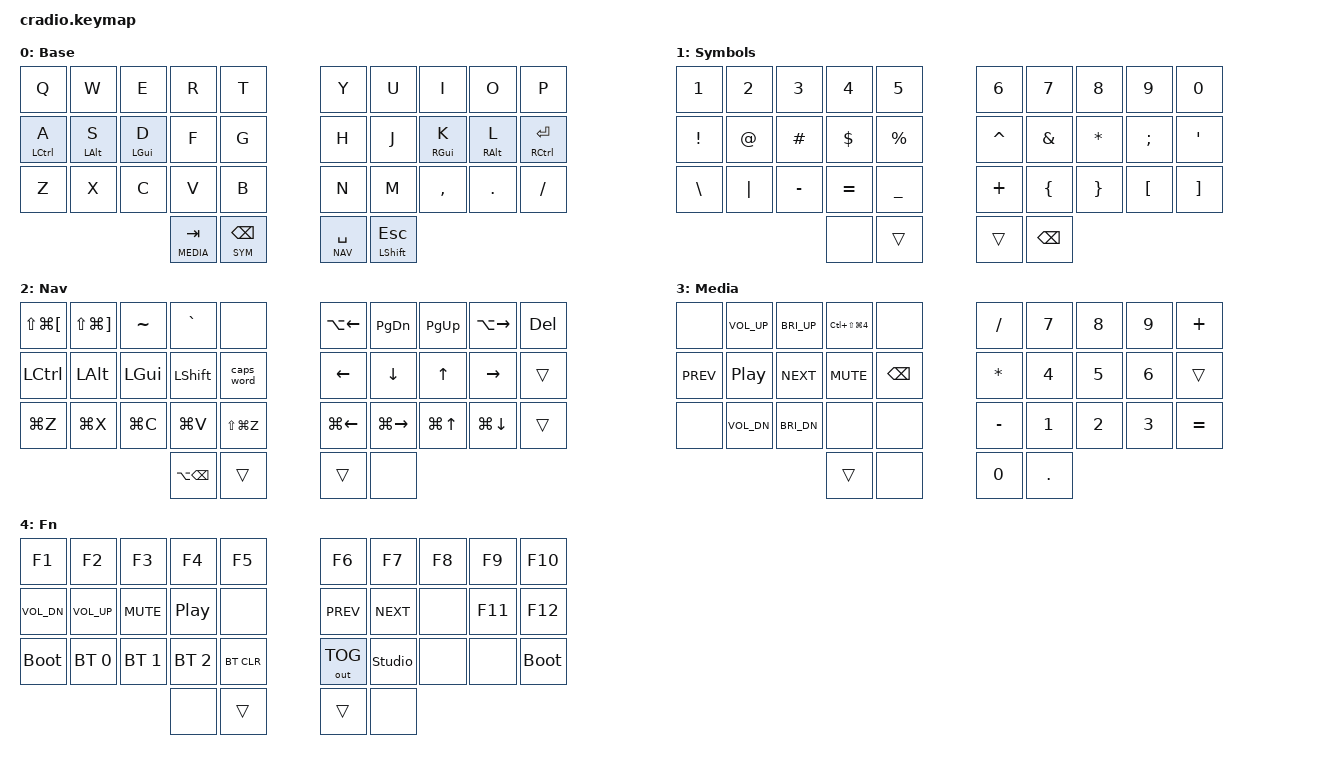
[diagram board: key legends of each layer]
// Ferris Sweep keymap, ported from the BM43 layout in ~/qmk_userspace. Mac only.
// Key positions: left hand 0-4, 10-14, 20-24; right hand 5-9, 15-19, 25-29; thumbs 30-33.

#include <behaviors.dtsi>
#include <dt-bindings/zmk/keys.h>
#include <dt-bindings/zmk/bt.h>
#include <dt-bindings/zmk/outputs.h>

#define BASE  0
#define SYM   1
#define NAV   2
#define MEDIA 3
#define FN    4

#define LEFT_HAND  0 1 2 3 4 10 11 12 13 14 20 21 22 23 24
#define RIGHT_HAND 5 6 7 8 9 15 16 17 18 19 25 26 27 28 29
#define THUMBS     30 31 32 33

/ {
    behaviors {
        // Home row mods. A mod only counts when the next key is on the other hand or a thumb,
        // and never right after a letter, so fast typing stays letters.
        hml: home_row_mod_left {
            compatible = "zmk,behavior-hold-tap";
            #binding-cells = <2>;
            flavor = "balanced";
            tapping-term-ms = <280>;
            require-prior-idle-ms = <150>;
            quick-tap-ms = <175>;
            hold-trigger-key-positions = <RIGHT_HAND THUMBS>;
            hold-trigger-on-release;
            bindings = <&kp>, <&kp>;
        };
        hmr: home_row_mod_right {
            compatible = "zmk,behavior-hold-tap";
            #binding-cells = <2>;
            flavor = "balanced";
            tapping-term-ms = <280>;
            require-prior-idle-ms = <150>;
            quick-tap-ms = <175>;
            hold-trigger-key-positions = <LEFT_HAND THUMBS>;
            hold-trigger-on-release;
            bindings = <&kp>, <&kp>;
        };

        // Backspace/Symbols. Nothing rolls off this key in normal typing, so any key pressed
        // while it's down is a symbol, even if the thumb lifts first.
        bs_sym: backspace_symbols {
            compatible = "zmk,behavior-hold-tap";
            #binding-cells = <2>;
            flavor = "hold-preferred";
            tapping-term-ms = <200>;
            quick-tap-ms = <125>;
            bindings = <&mo>, <&kp>;
        };
        // Space/Nav. Only a full hold opens Nav. Letters pressed sooner stay letters, because a
        // letter landing inside a Space press is normal fast typing.
        sp_nav: space_nav {
            compatible = "zmk,behavior-hold-tap";
            #binding-cells = <2>;
            flavor = "tap-preferred";
            tapping-term-ms = <200>;
            require-prior-idle-ms = <100>;
            quick-tap-ms = <150>;
            bindings = <&mo>, <&kp>;
        };
        tab_med: tab_media {
            compatible = "zmk,behavior-hold-tap";
            #binding-cells = <2>;
            flavor = "balanced";
            tapping-term-ms = <200>;
            quick-tap-ms = <150>;
            bindings = <&mo>, <&kp>;
        };
        esc_sft: esc_shift {
            compatible = "zmk,behavior-hold-tap";
            #binding-cells = <2>;
            flavor = "hold-preferred";
            tapping-term-ms = <200>;
            bindings = <&kp>, <&kp>;
        };
    };

    // Base layer only, on pairs with no sideways stretch.
    combos {
        compatible = "zmk,combos";

        combo_lpar {
            timeout-ms = <40>;
            require-prior-idle-ms = <50>;
            key-positions = <12 13>;     // D F
            layers = <BASE>;
            bindings = <&kp LPAR>;
        };
        combo_rpar {
            timeout-ms = <40>;
            require-prior-idle-ms = <50>;
            key-positions = <16 17>;     // J K
            layers = <BASE>;
            bindings = <&kp RPAR>;
        };
        combo_dquote {
            timeout-ms = <40>;
            require-prior-idle-ms = <50>;
            key-positions = <13 16>;     // F J
            layers = <BASE>;
            bindings = <&kp DQT>;
        };
        combo_underscore {
            timeout-ms = <40>;
            require-prior-idle-ms = <50>;
            key-positions = <12 17>;     // D K
            layers = <BASE>;
            bindings = <&kp UNDER>;
        };
        combo_colon {
            timeout-ms = <40>;
            require-prior-idle-ms = <50>;
            key-positions = <17 18>;     // K L
            layers = <BASE>;
            bindings = <&kp COLON>;
        };
        // Bottom-row pairs that almost never come up in typing, on keys with no hold function.
        // A combo stays pressed while both keys are down, so this Backspace repeats when held.
        combo_backspace {
            timeout-ms = <40>;
            require-prior-idle-ms = <50>;
            key-positions = <27 28>;     // , .
            layers = <BASE>;
            bindings = <&kp BSPC>;
        };
        combo_minus {
            timeout-ms = <40>;
            require-prior-idle-ms = <50>;
            key-positions = <22 23>;     // C V
            layers = <BASE>;
            bindings = <&kp MINUS>;
        };
        combo_apostrophe {
            timeout-ms = <40>;
            require-prior-idle-ms = <50>;
            key-positions = <22 27>;     // C ,
            layers = <BASE>;
            bindings = <&kp SQT>;
        };
    };

    // Both inner thumbs, in either order, give Fn.
    conditional_layers {
        compatible = "zmk,conditional-layers";
        fn_layer {
            if-layers = <SYM NAV>;
            then-layer = <FN>;
        };
    };

    keymap {
        compatible = "zmk,keymap";

        base_layer {
            display-name = "Base";
            bindings = <
            &kp Q         &kp W         &kp E         &kp R      &kp T          &kp Y      &kp U      &kp I         &kp O         &kp P
            &hml LCTRL A  &hml LALT S   &hml LGUI D   &kp F      &kp G          &kp H      &kp J      &hmr RGUI K   &hmr RALT L   &hmr RCTRL ENTER
            &kp Z         &kp X         &kp C         &kp V      &kp B          &kp N      &kp M      &kp COMMA     &kp DOT       &kp FSLH
                                &tab_med MEDIA TAB  &bs_sym SYM BSPC            &sp_nav NAV SPACE  &esc_sft LSHFT ESC
            >;
        };

        // Hold left inner thumb. Right inner stays Space/Nav so a Space hit while still holding
        // Symbols can't delete anything, and holding it gives Fn. Backspace moves to right outer.
        symbol_layer {
            display-name = "Symbols";
            bindings = <
            &kp N1     &kp N2     &kp N3     &kp N4     &kp N5          &kp N6     &kp N7     &kp N8     &kp N9     &kp N0
            &kp EXCL   &kp AT     &kp HASH   &kp DLLR   &kp PRCNT       &kp CARET  &kp AMPS   &kp ASTRK  &kp SEMI   &kp SQT
            &kp BSLH   &kp PIPE   &kp MINUS  &kp EQUAL  &kp UNDER       &kp PLUS   &kp LBRC   &kp RBRC   &kp LBKT   &kp RBKT
                                  &none      &trans                     &trans     &kp BSPC
            >;
        };

        // Hold right inner thumb. Arrows on the right hand, modifiers under the left.
        // Left inner stays Backspace/Symbols, and holding it gives Fn.
        nav_layer {
            display-name = "Nav";
            bindings = <
            &kp LS(LG(LBKT))  &kp LS(LG(RBKT))  &kp TILDE  &kp GRAVE  &none          &kp LA(LEFT)  &kp PG_DN     &kp PG_UP    &kp LA(RIGHT)  &kp DEL
            &kp LCTRL         &kp LALT          &kp LGUI   &kp LSHFT  &caps_word     &kp LEFT      &kp DOWN      &kp UP       &kp RIGHT      &trans
            &kp LG(Z)         &kp LG(X)         &kp LG(C)  &kp LG(V)  &kp LS(LG(Z))  &kp LG(LEFT)  &kp LG(RIGHT) &kp LG(UP)   &kp LG(DOWN)   &trans
                                                &kp LA(BSPC)  &trans                 &trans        &none
            >;
        };

        // Hold left outer thumb. Media on the left, numpad on the right. Shot copies a screen
        // selection to the clipboard.
        media_layer {
            display-name = "Media";
            bindings = <
            &none      &kp C_VOL_UP  &kp C_BRI_UP  &kp LC(LS(LG(N4)))  &none          &kp FSLH   &kp N7     &kp N8     &kp N9     &kp PLUS
            &kp C_PREV &kp C_PP      &kp C_NEXT    &kp C_MUTE          &kp BSPC       &kp ASTRK  &kp N4     &kp N5     &kp N6     &trans
            &none      &kp C_VOL_DN  &kp C_BRI_DN  &none               &none          &kp MINUS  &kp N1     &kp N2     &kp N3     &kp EQUAL
                                     &trans        &none                              &kp N0     &kp DOT
            >;
        };

        // Both inner thumbs. Bootloader keys only affect the half they're pressed on, so each
        // half has its own.
        fn_layer {
            display-name = "Fn";
            bindings = <
            &kp F1       &kp F2        &kp F3        &kp F4        &kp F5         &kp F6       &kp F7          &kp F8     &kp F9     &kp F10
            &kp C_VOL_DN &kp C_VOL_UP  &kp C_MUTE    &kp C_PP      &none          &kp C_PREV   &kp C_NEXT      &none      &kp F11    &kp F12
            &bootloader  &bt BT_SEL 0  &bt BT_SEL 1  &bt BT_SEL 2  &bt BT_CLR     &out OUT_TOG &studio_unlock  &none      &none      &bootloader
                                       &none         &trans                       &trans       &none
            >;
        };
    };
};
